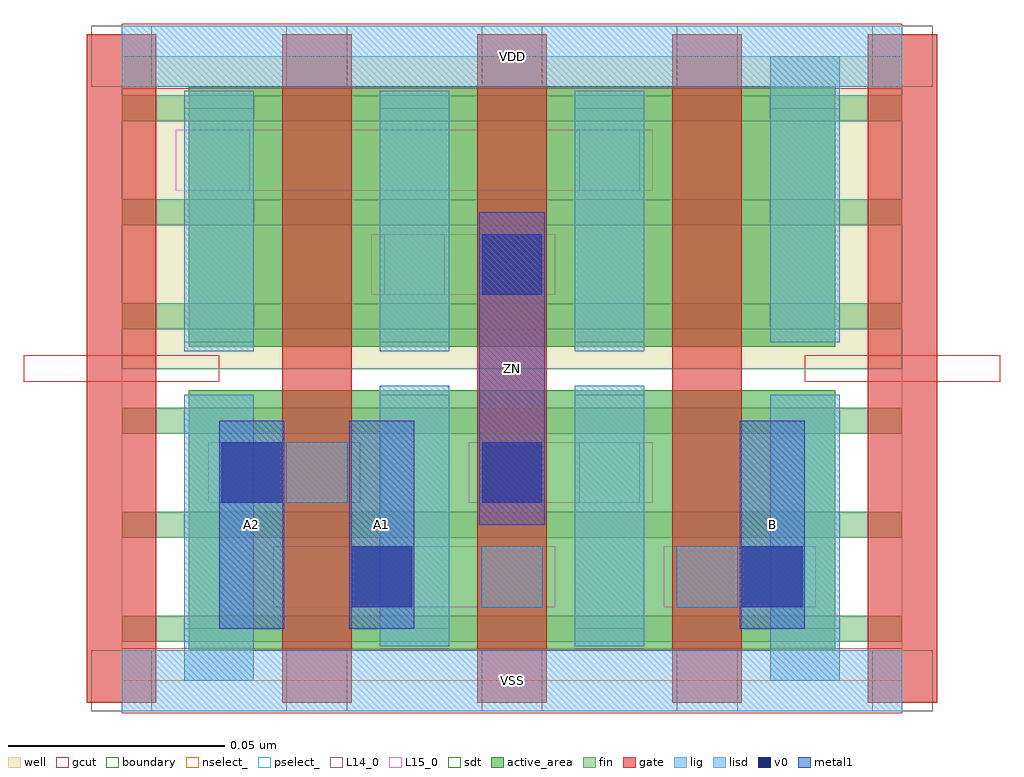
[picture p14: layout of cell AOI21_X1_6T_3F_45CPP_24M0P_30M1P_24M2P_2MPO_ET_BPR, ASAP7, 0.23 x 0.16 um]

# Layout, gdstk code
import gdstk
lib = gdstk.Library(unit=1e-6, precision=2.5e-10)
def R(c, l, rs):  # rectangles x0, y0, x1, y1
    for r in rs: c.add(gdstk.rectangle(r[:2], r[2:], *l))
def A(c, l, x, y, w, h, nx, ny, dx, dy):  # array of equal rectangles
    R(c, l, [(x+i*dx, y+j*dy, x+i*dx+w, y+j*dy+h) for i in range(nx) for j in range(ny)])
well = (1, 0)
fin = (2, 0)
gate = (7, 0)
gcut = (10, 0)
active_area = (11, 0)
nselect_ = (12, 0)
pselect_ = (13, 0)
L14_0 = (14, 0)
L15_0 = (15, 0)
lig = (16, 0)
lisd = (17, 0)
v0 = (18, 0)
metal1 = (19, 0)
sdt = (88, 0)
boundary = (100, 0)

aoi21_x1_6t_3f_45cpp_24m = lib.new_cell('AOI21_X1_6T_3F_45CPP_24M0P_30M1P_24M2P_2MPO_ET_BPR')
R(aoi21_x1_6t_3f_45cpp_24m, well, [(0,0.072,0.18,0.144)])
A(aoi21_x1_6t_3f_45cpp_24m, fin, 0, 0.009, 0.18, 0.006, 1, 6, 0, 0.024)
A(aoi21_x1_6t_3f_45cpp_24m, gate, -0.008, -0.005, 0.016, 0.154, 5, 1, 0.045, 0)
R(aoi21_x1_6t_3f_45cpp_24m, gcut, [(0,-0.0075,0.18,0.0075), (-0.0225,0.069,0.0225,0.075), (0.1575,0.069,0.2025,0.075), (0,0.1365,0.18,0.1515)])
A(aoi21_x1_6t_3f_45cpp_24m, active_area, 0.0155, 0.007, 0.059, 0.06, 3, 2, 0.045, 0.07)
R(aoi21_x1_6t_3f_45cpp_24m, nselect_, [(0,0,0.18,0.072)])
R(aoi21_x1_6t_3f_45cpp_24m, pselect_, [(0,0.072,0.18,0.144)])
A(aoi21_x1_6t_3f_45cpp_24m, L14_0, -0.007, -0.007, 0.014, 0.014, 5, 2, 0.045, 0.144)
R(aoi21_x1_6t_3f_45cpp_24m, L14_0, [(0.083,0.017,0.097,0.031), (0.128,0.017,0.142,0.031), (0.038,0.041,0.052,0.055), (0.1055,0.041,0.1195,0.055), (0.0605,0.089,0.0745,0.103), (0.0155,0.113,0.0295,0.127), (0.1055,0.113,0.1195,0.127)])
R(aoi21_x1_6t_3f_45cpp_24m, L15_0, [(0,-0.007,0.18,0.007), (0.035,0.017,0.1,0.031), (0.125,0.017,0.16,0.031), (0.02,0.041,0.055,0.055), (0.08,0.041,0.1225,0.055), (0.0575,0.089,0.1,0.103), (0.0125,0.113,0.1225,0.127), (0,0.137,0.18,0.151)])
R(aoi21_x1_6t_3f_45cpp_24m, lig, [(0,-0.007,0.18,0.007), (0.083,0.017,0.097,0.031), (0.128,0.017,0.142,0.031), (0.038,0.041,0.052,0.055), (0,0.137,0.18,0.151)])
A(aoi21_x1_6t_3f_45cpp_24m, lisd, 0.0145, 0.076, 0.016, 0.06, 3, 1, 0.045, 0)
R(aoi21_x1_6t_3f_45cpp_24m, lisd, [(0.0145,0,0.0305,0.066), (0.1495,0,0.1655,0.066), (0.0595,0.008,0.0755,0.068), (0.1045,0.008,0.1205,0.068), (0.1495,0.078,0.1655,0.144)])
R(aoi21_x1_6t_3f_45cpp_24m, v0, [(0.053,0.017,0.067,0.031), (0.143,0.017,0.157,0.031), (0.023,0.041,0.037,0.055), (0.083,0.041,0.097,0.055), (0.083,0.089,0.097,0.103)])
R(aoi21_x1_6t_3f_45cpp_24m, metal1, [(0.0225,0.012,0.0375,0.06), (0.0525,0.012,0.0675,0.06), (0.1425,0.012,0.1575,0.06), (0.0825,0.036,0.0975,0.108)])
A(aoi21_x1_6t_3f_45cpp_24m, sdt, 0.0145, 0.012, 0.016, 0.054, 4, 2, 0.045, 0.066)
R(aoi21_x1_6t_3f_45cpp_24m, boundary, [(0,0,0.18,0.144)])
aoi21_x1_6t_3f_45cpp_24m.add(gdstk.Label('B', (0.15,0.036), layer=19, texttype=251))
aoi21_x1_6t_3f_45cpp_24m.add(gdstk.Label('ZN', (0.09,0.072), layer=19, texttype=251))
aoi21_x1_6t_3f_45cpp_24m.add(gdstk.Label('A1', (0.06,0.036), layer=19, texttype=251))
aoi21_x1_6t_3f_45cpp_24m.add(gdstk.Label('A2', (0.03,0.036), layer=19, texttype=251))
aoi21_x1_6t_3f_45cpp_24m.add(gdstk.Label('VDD', (0.09,0.144), layer=15, texttype=251))
aoi21_x1_6t_3f_45cpp_24m.add(gdstk.Label('VSS', (0.09,0), layer=15, texttype=251))
aoi21_x1_6t_3f_45cpp_24m.add(gdstk.Label('VDD', (0.09,0.144), layer=1, texttype=251))
aoi21_x1_6t_3f_45cpp_24m.add(gdstk.Label('VSS', (0.09,0), layer=3, texttype=251))

lib.write_gds('AOI21_X1_6T_3F_45CPP_24M0P_30M1P_24M2P_2MPO_ET_BPR.gds')
